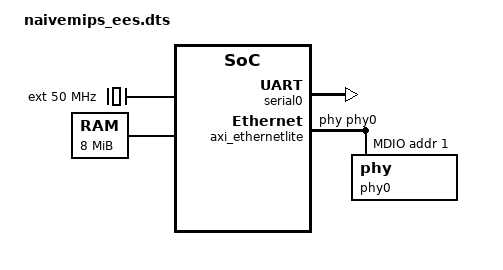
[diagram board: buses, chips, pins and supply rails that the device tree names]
/dts-v1/;


/ {
	compatible = "Tsinghua,NaiveMIPS,Thinpad";
	#address-cells = <1>;
	#size-cells = <1>;

	chosen {
		bootargs = "console=ttyS0,115200n8";
	};

	cpus {
		#address-cells = <1>;
		#size-cells = <0>;
		cpu@0 {
			device_type = "cpu";
			compatible = "mips,4Kc";
			clocks	= <&ext>;
			reg = <0>;
		};
	};

	ext: ext {
		compatible = "fixed-clock";
		#clock-cells = <0>;
	};

	memory {
		device_type = "memory";
		reg = <0x0 0x800000>;
	};

	cpuintc: interrupt-controller@0 {
		#address-cells = <0>;
		#interrupt-cells = <1>;
		interrupt-controller;
		compatible = "mti,cpu-interrupt-controller";
	};
	
	soc{
		compatible = "simple-bus";
		#address-cells = <1>;
		#size-cells = <1>;
		#interrupt-cells = <1>;
		ranges;
		
		serial0: serial@0x1fd003F8 {
			device_type = "serial";
			compatible = "tsinghua,naivemips-uart";
			reg = <0x1fd003F8 8>;
			clock-frequency = <1843200>;
			interrupt-parent = <&cpuintc>;
			interrupts = <4>;
		};
		axi_intc_0: interrupt-controller@1c080000 {
			#interrupt-cells = <2>;
			compatible = "xlnx,xps-intc-1.00.a";
			interrupt-controller;
			interrupt-parent = <&cpuintc>;
			interrupts = <2>;
			reg = <0x1c032000 0x2000>;
			xlnx,kind-of-intr = <0x1>;
			xlnx,num-intr-inputs = <0x1>;
		};
		axi_ethernetlite: ethernet@1c030000 {
			compatible = "xlnx,xps-ethernetlite-3.00.a";
			device_type = "network";
			local-mac-address = [08 86 4C 0D F7 09];
			phy-handle = <&phy0>;
			reg = <0x1c030000 0x2000>;
			xlnx,duplex = <0x1>;
			xlnx,include-global-buffers = <0x1>;
			xlnx,include-internal-loopback = <0x0>;
			xlnx,include-mdio = <0x1>;
			xlnx,instance = "axi_ethernetlite_inst";
			xlnx,rx-ping-pong = <0x1>;
			xlnx,s-axi-id-width = <0x1>;
			xlnx,tx-ping-pong = <0x1>;
			xlnx,use-internal = <0x0>;
			interrupt-parent = <&axi_intc_0>;
			interrupts = <0 2>; //the 2nd value is not used
			mdio {
				#address-cells = <1>;
				#size-cells = <0>;
				phy0: phy@1 {
					device_type = "ethernet-phy";
					reg = <1>;
				} ;
			} ;
	    } ;
	};

	
};

&ext {
	clock-frequency = <50000000>;
};
